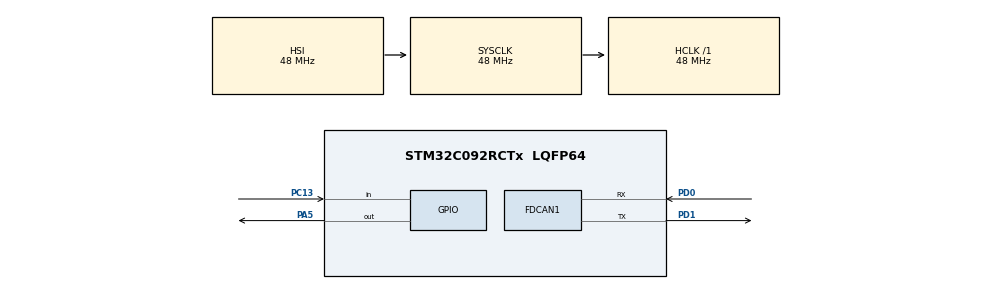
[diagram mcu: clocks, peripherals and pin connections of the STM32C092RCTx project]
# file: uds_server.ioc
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FDCAN1.AutoRetransmission=ENABLE
FDCAN1.CalculateBaudRateNominal=500000
FDCAN1.CalculateTimeBitNominal=2000
FDCAN1.CalculateTimeQuantumNominal=41.666666666666664
FDCAN1.DataSyncJumpWidth=6
FDCAN1.DataTimeSeg1=17
FDCAN1.DataTimeSeg2=6
FDCAN1.NominalPrescaler=2
FDCAN1.NominalSyncJumpWidth=12
FDCAN1.NominalTimeSeg1=35
FDCAN1.NominalTimeSeg2=12
FDCAN1.StdFiltersNbr=0
FDCAN1.TransmitPause=ENABLE
Mcu.Family=STM32C0
Mcu.Name=STM32C092RCTx
Mcu.Package=LQFP64
NUCLEO-C092RC.BUTTON=1
NUCLEO-C092RC.Bsp_Common_DEMO=true
NUCLEO-C092RC.LD1=true
NUCLEO-C092RC.LD2=true
NUCLEO-C092RC.VCP=true
NVIC.EXTI4_15_IRQn=true\:0\:0\:false\:false\:true\:false\:true\:true
NVIC.FDCAN1_IT0_IRQn=true\:0\:0\:false\:false\:true\:true\:true\:true
PA13.GPIO_Label=SWDIO
PA13.Signal=DEBUG_SWDIO
PA14-BOOT0.GPIO_Label=SWCLK
PA14-BOOT0.Signal=DEBUG_SWCLK
PA2.Signal=USART2_TX
PA3.Signal=USART2_RX
PA5.Signal=GPIO_Output
PC13.Signal=GPIO_Input
PC14-OSCX_IN(PC14).GPIO_Label=OSCX_IN
PC14-OSCX_IN(PC14).Signal=RCC_OSCX_IN
PC15-OSCX_OUT(PC15).GPIO_Label=OSCX_OUT
PC15-OSCX_OUT(PC15).Signal=RCC_OSCX_OUT
PD0.Mode=FDCAN_Activate
PD0.Signal=FDCAN1_RX
PD1.Mode=FDCAN_Activate
PD1.Signal=FDCAN1_TX
PF0-OSC_IN(PF0).GPIO_Label=OSC_IN
PF0-OSC_IN(PF0).Signal=RCC_OSC_IN
PF1-OSC_OUT(PF1).GPIO_Label=OSC_OUT
PF1-OSC_OUT(PF1).Signal=RCC_OSC_OUT
ProjectManager.HeapSize=0x200
ProjectManager.StackSize=0x400
ProjectManager.TargetToolchain=STM32CubeIDE
RCC.ADCFreq_Value=48000000
RCC.AHBFreq_Value=48000000
RCC.CortexFreq_Value=48000000
RCC.EXTERNAL_CLOCK_VALUE=12288000
RCC.HCLKFreq_Value=48000000
RCC.HSE_VALUE=8000000
RCC.HSISYSCLKDivider=RCC_HSI_DIV1
RCC.HSI_VALUE=48000000
RCC.LSE_VALUE=32768
RCC.SYSCLKFreq_VALUE=48000000
VP_NUCLEO-C092RC_VS_BSP_COMMON.Mode=COMMON
board=NUCLEO-C092RC

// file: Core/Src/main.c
/* USER CODE BEGIN Header */
/**
  ******************************************************************************
  * @file           : main.c
  * @brief          : Main program body
  ******************************************************************************
  * @attention
  *
  * Copyright (c) 2026 STMicroelectronics.
  * All rights reserved.
  *
  * This software is licensed under terms that can be found in the LICENSE file
  * in the root directory of this software component.
  * If no LICENSE file comes with this software, it is provided AS-IS.
  *
  ******************************************************************************
  */
/* USER CODE END Header */
#include "main.h"

/* USER CODE BEGIN Includes */
#include "app.h"
/* USER CODE END Includes */

/* USER CODE BEGIN PD */
#define TX_ID          (0x444)   /* TX CAN message identifier    */
#define RX_ID          (0x444)   /* RX CAN message identifier    */
/* USER CODE END PD */

COM_InitTypeDef BspCOMInit;
__IO uint32_t BspButtonState = BUTTON_RELEASED;

FDCAN_HandleTypeDef hfdcan1;

void SystemClock_Config(void);
static void MX_GPIO_Init(void);
static void MX_FDCAN1_Init(void);

int main(void)
{

  /* USER CODE BEGIN 1 */
  HAL_StatusTypeDef halSt;
  /* USER CODE END 1 */

  /* MCU Configuration--------------------------------------------------------*/

  /* Reset of all peripherals, Initializes the Flash interface and the Systick. */
  HAL_Init();

  /* Configure the system clock */
  SystemClock_Config();

  /* Initialize all configured peripherals */
  MX_GPIO_Init();
  MX_FDCAN1_Init();
  /* USER CODE BEGIN 2 */
  halSt = HAL_FDCAN_ConfigGlobalFilter(
    &hfdcan1,
    FDCAN_ACCEPT_IN_RX_FIFO0,
    FDCAN_ACCEPT_IN_RX_FIFO0,
    FDCAN_FILTER_REMOTE,
    FDCAN_FILTER_REMOTE
  );

  if (halSt != HAL_OK) {
    Error_Handler();
  }

  halSt = HAL_FDCAN_ActivateNotification(
    &hfdcan1,
    FDCAN_IT_RX_FIFO0_NEW_MESSAGE,
    0U
  );

  if (halSt != HAL_OK) {
    Error_Handler();
  }

  HAL_FDCAN_Start(&hfdcan1);
  /* USER CODE END 2 */

  /* Initialize leds */
  BSP_LED_Init(LED_GREEN);
  BSP_LED_Init(LED_BLUE);

  /* Initialize USER push-button, will be used to trigger an interrupt each time it's pressed.*/
  BSP_PB_Init(BUTTON_USER, BUTTON_MODE_EXTI);

  /* Initialize COM1 port (115200, 8 bits (7-bit data + 1 stop bit), no parity */
  BspCOMInit.BaudRate   = 115200;
  BspCOMInit.WordLength = COM_WORDLENGTH_8B;
  BspCOMInit.StopBits   = COM_STOPBITS_1;
  BspCOMInit.Parity     = COM_PARITY_NONE;
  BspCOMInit.HwFlowCtl  = COM_HWCONTROL_NONE;
  if (BSP_COM_Init(COM1, &BspCOMInit) != BSP_ERROR_NONE)
  {
    Error_Handler();
  }

  /* USER CODE BEGIN BSP */

  /* -- Sample board code to send message over COM1 port ---- */
  printf("Welcome to UDS Server !\n\r");

  /* -- Sample board code to switch on leds ---- */
  BSP_LED_On(LED_GREEN);
  BSP_LED_On(LED_BLUE);

  /* USER CODE END BSP */

  /* Infinite loop */
  /* USER CODE BEGIN WHILE */
  app();
  while (1)
  {
    /* USER CODE END WHILE */

  }
}

void SystemClock_Config(void)
{
  RCC_OscInitTypeDef RCC_OscInitStruct = {0};
  RCC_ClkInitTypeDef RCC_ClkInitStruct = {0};

  __HAL_FLASH_SET_LATENCY(FLASH_LATENCY_1);

  /** Initializes the RCC Oscillators according to the specified parameters
  * in the RCC_OscInitTypeDef structure.
  */
  RCC_OscInitStruct.OscillatorType = RCC_OSCILLATORTYPE_HSI;
  RCC_OscInitStruct.HSIState = RCC_HSI_ON;
  RCC_OscInitStruct.HSIDiv = RCC_HSI_DIV1;
  RCC_OscInitStruct.HSICalibrationValue = RCC_HSICALIBRATION_DEFAULT;
  if (HAL_RCC_OscConfig(&RCC_OscInitStruct) != HAL_OK)
  {
    Error_Handler();
  }

  /** Initializes the CPU, AHB and APB buses clocks
  */
  RCC_ClkInitStruct.ClockType = RCC_CLOCKTYPE_HCLK|RCC_CLOCKTYPE_SYSCLK
                              |RCC_CLOCKTYPE_PCLK1;
  RCC_ClkInitStruct.SYSCLKSource = RCC_SYSCLKSOURCE_HSI;
  RCC_ClkInitStruct.SYSCLKDivider = RCC_SYSCLK_DIV1;
  RCC_ClkInitStruct.AHBCLKDivider = RCC_HCLK_DIV1;
  RCC_ClkInitStruct.APB1CLKDivider = RCC_APB1_DIV1;

  if (HAL_RCC_ClockConfig(&RCC_ClkInitStruct, FLASH_LATENCY_1) != HAL_OK)
  {
    Error_Handler();
  }
}

static void MX_FDCAN1_Init(void)
{

  hfdcan1.Instance = FDCAN1;
  hfdcan1.Init.ClockDivider = FDCAN_CLOCK_DIV1;
  hfdcan1.Init.FrameFormat = FDCAN_FRAME_CLASSIC;
  hfdcan1.Init.Mode = FDCAN_MODE_NORMAL;
  hfdcan1.Init.AutoRetransmission = ENABLE;
  hfdcan1.Init.TransmitPause = ENABLE;
  hfdcan1.Init.ProtocolException = DISABLE;
  hfdcan1.Init.NominalPrescaler = 2;
  hfdcan1.Init.NominalSyncJumpWidth = 12;
  hfdcan1.Init.NominalTimeSeg1 = 35;
  hfdcan1.Init.NominalTimeSeg2 = 12;
  hfdcan1.Init.DataPrescaler = 1;
  hfdcan1.Init.DataSyncJumpWidth = 6;
  hfdcan1.Init.DataTimeSeg1 = 17;
  hfdcan1.Init.DataTimeSeg2 = 6;
  hfdcan1.Init.StdFiltersNbr = 0;
  hfdcan1.Init.ExtFiltersNbr = 0;
  hfdcan1.Init.TxFifoQueueMode = FDCAN_TX_FIFO_OPERATION;
  if (HAL_FDCAN_Init(&hfdcan1) != HAL_OK)
  {
    Error_Handler();
  }

}

static void MX_GPIO_Init(void)
{

  /* GPIO Ports Clock Enable */
  __HAL_RCC_GPIOC_CLK_ENABLE();
  __HAL_RCC_GPIOF_CLK_ENABLE();
  __HAL_RCC_GPIOA_CLK_ENABLE();
  __HAL_RCC_GPIOD_CLK_ENABLE();

}

/**
  * @brief  BSP Push Button callback
  * @param  Button Specifies the pressed button
  * @retval None
  */
void BSP_PB_Callback(Button_TypeDef Button)
{
  if (Button == BUTTON_USER)
  {
    BspButtonState = BUTTON_PRESSED;
  }
}

void Error_Handler(void)
{
  __disable_irq();
  while (1)
  {
  }
}
